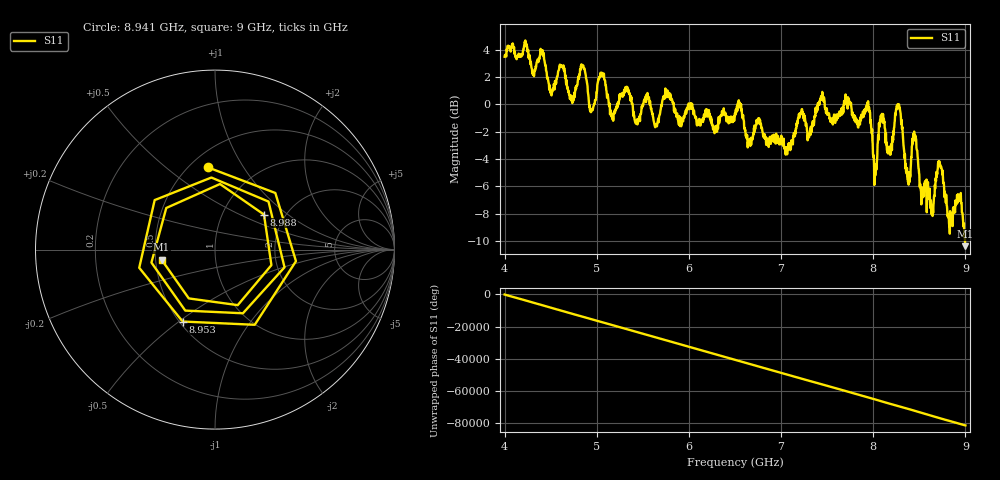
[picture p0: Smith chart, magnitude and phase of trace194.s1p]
! Created with skrf 1.8.0 (http://scikit-rf.org).
# Hz S RI R 50.0
!freq ReS11 ImS11
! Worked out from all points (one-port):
!   1601 points, 4 GHz to 9 GHz, reference 50 ohm
!   lowest |S11| = -10.4 dB at 9 GHz (marker M1), VSWR 1.87, Z = 26.9 - j3.37 ohm
!   |S11| at or under -10 dB: 8.996091 GHz to end of sweep
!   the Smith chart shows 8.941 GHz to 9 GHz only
!   S11 on the Smith chart (normalised r, x): 8.941 GHz: 0.61, +0.71; 8.953 GHz: 0.52, -0.52; 8.988 GHz: 1.57, +0.69; 9 GHz: 0.54, -0.07
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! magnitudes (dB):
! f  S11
! 4 GHz  3.5
! 4.406 GHz  3.7
! 4.506 GHz  0.7
! 4.625 GHz  2.7
! 4.725 GHz  0.5
! 4.844 GHz  2.8
! 4.941 GHz  -0.5
! 5.053 GHz  2.3
! 5.162 GHz  -0.8
! 5.25 GHz  0.4
! 5.875 GHz  -0.8
! 6.5 GHz  -0.6
! 7.125 GHz  -2.8
! 7.75 GHz  0.0
! 7.947 GHz  -0.1
! 8.022 GHz  -5.2
! 8.088 GHz  -0.9
! 8.178 GHz  -3.2
! 8.272 GHz  0.0
! 8.375 GHz  -5.5
! 8.444 GHz  -2.0
! 8.631 GHz  -8.0
! 8.722 GHz  -4.3
! 8.831 GHz  -9.5
! 8.941 GHz  -6.7
! 8.953 GHz  -7.1
! 8.988 GHz  -9.5
! 9 GHz  -10.4
